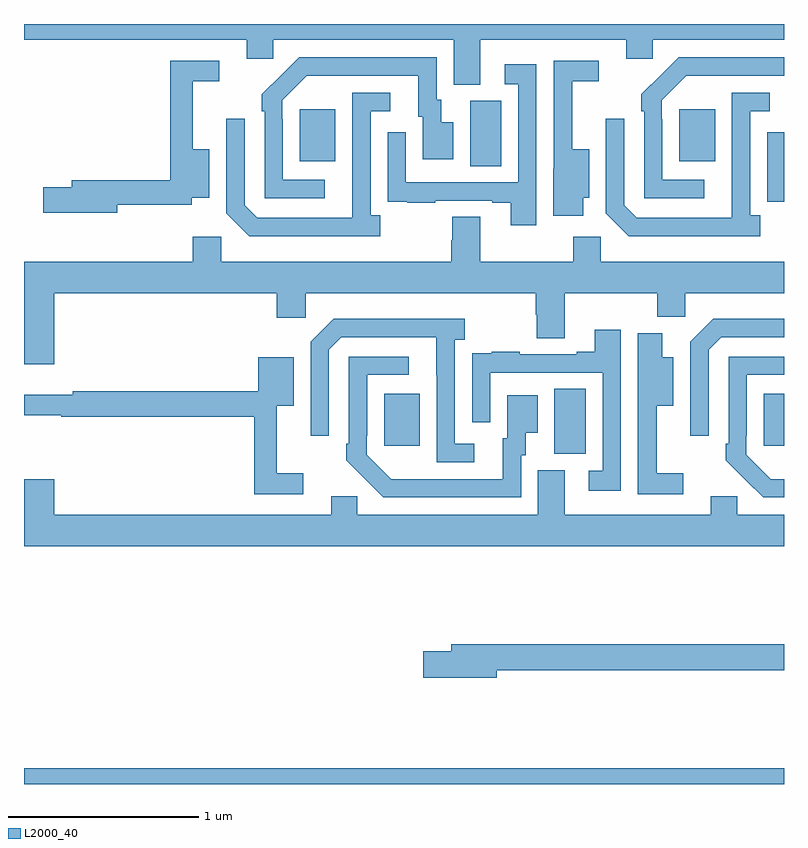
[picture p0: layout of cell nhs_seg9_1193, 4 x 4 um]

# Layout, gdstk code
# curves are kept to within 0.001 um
import gdstk
lib = gdstk.Library(unit=1e-6, precision=1e-09)
def R(c, l, rs):  # rectangles x0, y0, x1, y1
    for r in rs: c.add(gdstk.rectangle(r[:2], r[2:], *l))
def P(c, l, *ps):  # polygons
    for p in ps: c.add(gdstk.Polygon(p, *l))
L2000_40 = (2000, 40)

nhs_seg9_1193 = lib.new_cell('nhs_seg9_1193')
R(nhs_seg9_1193, L2000_40, [(177,1196.5,181,1196.584), (179.792,1198.237,179.956,1198.58), (178.895,1198.281,179.083,1198.555), (180.893,1198.281,181,1198.555), (179.348,1199.752,179.512,1200.096), (178.451,1199.777,178.639,1200.052), (180.449,1199.777,180.637,1200.052)])
P(nhs_seg9_1193, L2000_40, [(179.401,1200.416),(180.17,1200.416),(180.17,1200.318),(180.309,1200.318),(180.309,1200.416),(181,1200.416),(181,1200.5),(177,1200.5),(177,1200.416),(178.172,1200.416),(178.172,1200.318),(178.311,1200.318),(178.311,1200.416),(179.261,1200.416),(179.261,1200.181),(179.401,1200.181)],
  [(180.58,1199.679),(180.36,1199.679),(180.36,1199.999),(180.357,1199.999),(180.357,1200.099),(180.486,1200.228),(181,1200.228),(181,1200.324),(180.446,1200.324),(180.249,1200.129),(180.249,1200.041),(180.264,1200.041),(180.264,1199.583),(180.58,1199.583)],
  [(178.582,1199.679),(178.362,1199.679),(178.362,1199.999),(178.359,1199.999),(178.359,1200.099),(178.488,1200.228),(179.075,1200.228),(179.075,1200.012),(179.099,1200.012),(179.099,1199.787),(179.26,1199.787),(179.26,1199.983),(179.197,1199.983),(179.197,1200.102),(179.172,1200.102),(179.172,1200.324),(178.448,1200.324),(178.251,1200.129),(178.251,1200.041),(178.266,1200.041),(178.266,1199.583),(178.582,1199.583)],
  [(179.944,1199.585),(179.974,1199.585),(179.974,1199.842),(179.885,1199.842),(179.885,1200.198),(180.025,1200.198),(180.025,1200.306),(179.787,1200.306),(179.787,1199.738),(179.786,1199.738),(179.786,1199.49),(179.944,1199.49)],
  [(177.49,1199.55),(177.882,1199.55),(177.882,1199.585),(177.976,1199.585),(177.976,1199.842),(177.887,1199.842),(177.887,1200.198),(178.027,1200.198),(178.027,1200.306),(177.769,1200.306),(177.769,1199.678),(177.251,1199.678),(177.251,1199.642),(177.102,1199.642),(177.102,1199.507),(177.49,1199.507)],
  [(179.697,1200.289),(179.529,1200.289),(179.529,1200.183),(179.601,1200.183),(179.601,1199.667),(179.01,1199.667),(179.01,1199.929),(178.914,1199.929),(178.914,1199.674),(178.915,1199.674),(178.915,1199.565),(179.017,1199.565),(179.017,1199.559),(179.165,1199.559),(179.165,1199.571),(179.465,1199.571),(179.465,1199.559),(179.561,1199.559),(179.561,1199.442),(179.697,1199.442)],
  [(178.876,1199.494),(178.824,1199.494),(178.824,1200.042),(178.927,1200.042),(178.927,1200.138),(178.728,1200.138),(178.727,1199.481),(178.227,1199.481),(178.161,1199.547),(178.161,1200.001),(178.065,1200.001),(178.065,1199.505),(178.186,1199.384),(178.876,1199.384)],
  [(180.874,1199.494),(180.822,1199.494),(180.822,1200.042),(180.925,1200.042),(180.925,1200.138),(180.726,1200.138),(180.725,1199.481),(180.225,1199.481),(180.159,1199.547),(180.159,1200.001),(180.063,1200.001),(180.063,1199.505),(180.184,1199.384),(180.874,1199.384)],
  [(181,1199.929),(180.912,1199.929),(180.912,1199.674),(180.913,1199.674),(180.913,1199.565),(181,1199.565)],
  [(177.16,1199.084),(178.331,1199.084),(178.331,1198.953),(178.482,1198.953),(178.482,1199.084),(179.693,1199.084),(179.693,1198.971),(179.698,1198.971),(179.698,1198.846),(179.845,1198.846),(179.845,1199.084),(180.334,1199.084),(180.334,1198.958),(180.48,1198.958),(180.48,1199.084),(181,1199.084),(181,1199.248),(180.036,1199.248),(180.036,1199.38),(179.89,1199.38),(179.89,1199.248),(179.401,1199.248),(179.401,1199.486),(179.254,1199.486),(179.254,1199.361),(179.249,1199.361),(179.249,1199.248),(178.038,1199.248),(178.038,1199.38),(177.887,1199.38),(177.887,1199.248),(177,1199.248),(177,1198.71),(177.16,1198.71)],
  [(179.371,1198.29),(179.268,1198.29),(179.268,1198.838),(179.32,1198.838),(179.32,1198.948),(178.63,1198.948),(178.509,1198.827),(178.509,1198.332),(178.605,1198.332),(178.605,1198.785),(178.671,1198.851),(179.171,1198.851),(179.172,1198.194),(179.371,1198.194)],
  [(180.603,1198.785),(180.669,1198.851),(181,1198.851),(181,1198.948),(180.628,1198.948),(180.507,1198.827),(180.507,1198.332),(180.603,1198.332)],
  [(180.141,1198.891),(180.005,1198.891),(180.005,1198.774),(179.909,1198.774),(179.909,1198.761),(179.609,1198.761),(179.609,1198.774),(179.461,1198.774),(179.461,1198.767),(179.359,1198.767),(179.359,1198.658),(179.358,1198.658),(179.358,1198.404),(179.454,1198.404),(179.454,1198.665),(180.045,1198.665),(180.045,1198.149),(179.973,1198.149),(179.973,1198.044),(180.141,1198.044)],
  [(180.469,1198.135),(180.329,1198.135),(180.329,1198.49),(180.418,1198.49),(180.418,1198.747),(180.358,1198.747),(180.358,1198.873),(180.231,1198.873),(180.231,1198.026),(180.469,1198.026)],
  [(181,1198.105),(180.93,1198.105),(180.801,1198.233),(180.801,1198.333),(180.804,1198.333),(180.804,1198.653),(181,1198.653),(181,1198.749),(180.708,1198.749),(180.708,1198.291),(180.693,1198.291),(180.693,1198.203),(180.89,1198.008),(181,1198.008)],
  [(179.616,1198.23),(179.641,1198.23),(179.641,1198.349),(179.704,1198.349),(179.704,1198.546),(179.543,1198.546),(179.543,1198.32),(179.519,1198.32),(179.519,1198.104),(178.932,1198.105),(178.803,1198.233),(178.803,1198.333),(178.806,1198.333),(178.806,1198.653),(179.026,1198.653),(179.026,1198.749),(178.71,1198.749),(178.71,1198.291),(178.695,1198.291),(178.695,1198.203),(178.892,1198.008),(179.616,1198.008)],
  [(178.471,1198.135),(178.331,1198.135),(178.331,1198.49),(178.42,1198.49),(178.42,1198.747),(178.233,1198.747),(178.233,1198.568),(177.256,1198.568),(177.256,1198.549),(177,1198.549),(177,1198.44),(177.195,1198.44),(177.195,1198.432),(178.213,1198.432),(178.213,1198.026),(178.471,1198.026)],
  [(181,1197.916),(180.753,1197.916),(180.753,1198.014),(180.614,1198.014),(180.614,1197.916),(179.845,1197.916),(179.845,1198.152),(179.705,1198.152),(179.705,1197.916),(178.755,1197.916),(178.755,1198.014),(178.616,1198.014),(178.616,1197.916),(177.16,1197.916),(177.16,1198.105),(177,1198.105),(177,1197.752),(181,1197.752)],
  [(179.488,1197.1),(181,1197.1),(181,1197.236),(179.249,1197.236),(179.249,1197.2),(179.1,1197.2),(179.1,1197.058),(179.488,1197.058)])

lib.write_gds('nhs_seg9_1193.gds')
